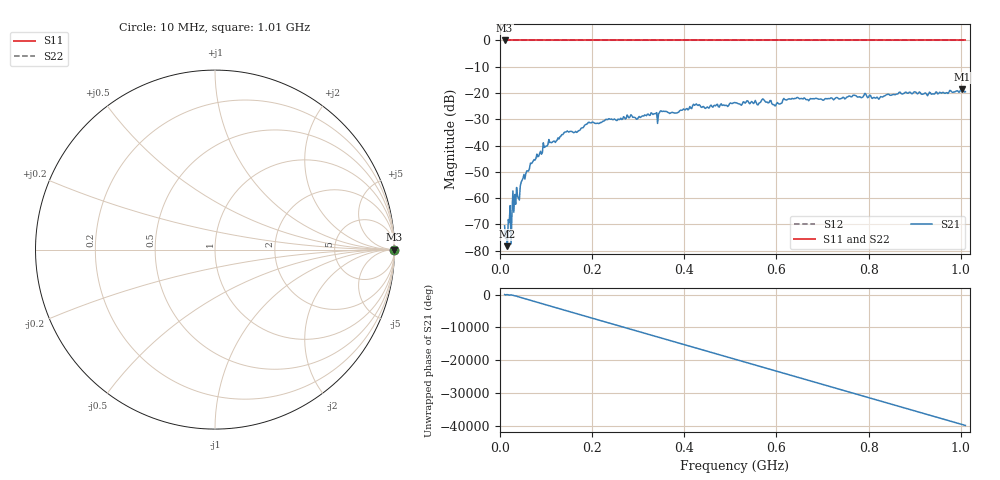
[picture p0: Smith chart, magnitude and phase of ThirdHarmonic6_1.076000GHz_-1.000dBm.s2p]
! 8/16/2025 9:49:47 AM
! C:\ANRITSUVNA\TEMP\TEMP.S2P
! CHANNEL.1
! TR.MEASUREMENT
! RAW.DATA
! RF.CORRECTION.OFF
! AVERAGING.OFF
! IF.BANDWIDTH: 5KHZ
! SWEEPTYPE:  FREQ.SWEEP(Linear)
! Reference Plane Port Info
! PORT:  PORT1  PORT2
! DISTANCE:  0  m  0  m
! TIME:  0  s  0  s
! PHASE.OFFSET:  0  deg.  0  deg.
! LOSS:  0  dB  0  dB
! REF.LOSS:  0  dB  0  dB
! REF.FREQ:  0  Hz  0  Hz
! Power Info
! POWER:  -20  dBm  -20  dBm
! EFF.POWER:  -20  dBm  -20  dBm
! SOURCE.ATTEN:  0  dB  0  dB
! TEST.ATTEN:  0  dB  0  dB
# GHZ S RI R 50.0
! FREQ.GHZ  S11RE  S11IM  S21RE  S21IM  S12RE  S12IM  S22RE  S22IM
!; PortSelection: Port_12
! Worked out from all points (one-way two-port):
!   501 points, 10 MHz to 1.01 GHz, reference 50 ohm
!   highest |S21| = -18.62 dB at 1.002 GHz (marker M1); lowest = -78.3 dB at 16 MHz (marker M2)
!   lowest |S11| = 0.0 dB at 10 MHz (marker M3)
!   |S11| at or under -10 dB: nowhere
!   |S22| runs from 0.0 to 0.0 dB; largest |S21 - S12| = 1.1
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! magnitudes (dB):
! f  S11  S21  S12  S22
! 10 MHz  0.0  -70.6  0.0  0.0
! 16 MHz  0.0  -78.3  0.0  0.0
! 28 MHz  0.0  -57.3  0.0  0.0
! 32 MHz  0.0  -58.7  0.0  0.0
! 38 MHz  0.0  -59.3  0.0  0.0
! 48 MHz  0.0  -53.2  0.0  0.0
! 70 MHz  0.0  -46.5  0.0  0.0
! 108 MHz  0.0  -38.9  0.0  0.0
! 142 MHz  0.0  -34.8  0.0  0.0
! 178 MHz  0.0  -33.3  0.0  0.0
! 234 MHz  0.0  -30.1  0.0  0.0
! 344 MHz  0.0  -28.0  0.0  0.0
! 422 MHz  0.0  -24.7  0.0  0.0
! 450 MHz  0.0  -25.3  0.0  0.0
! 510 MHz  0.0  -23.6  0.0  0.0
! 572 MHz  0.0  -22.5  0.0  0.0
! 596 MHz  0.0  -24.9  0.0  0.0
! 618 MHz  0.0  -22.5  0.0  0.0
! 678 MHz  0.0  -22.2  0.0  0.0
! 844 MHz  0.0  -20.5  0.0  0.0
! 1.002 GHz  0.0  -18.6  0.0  0.0
! 1.01 GHz  0.0  -19.5  0.0  0.0
